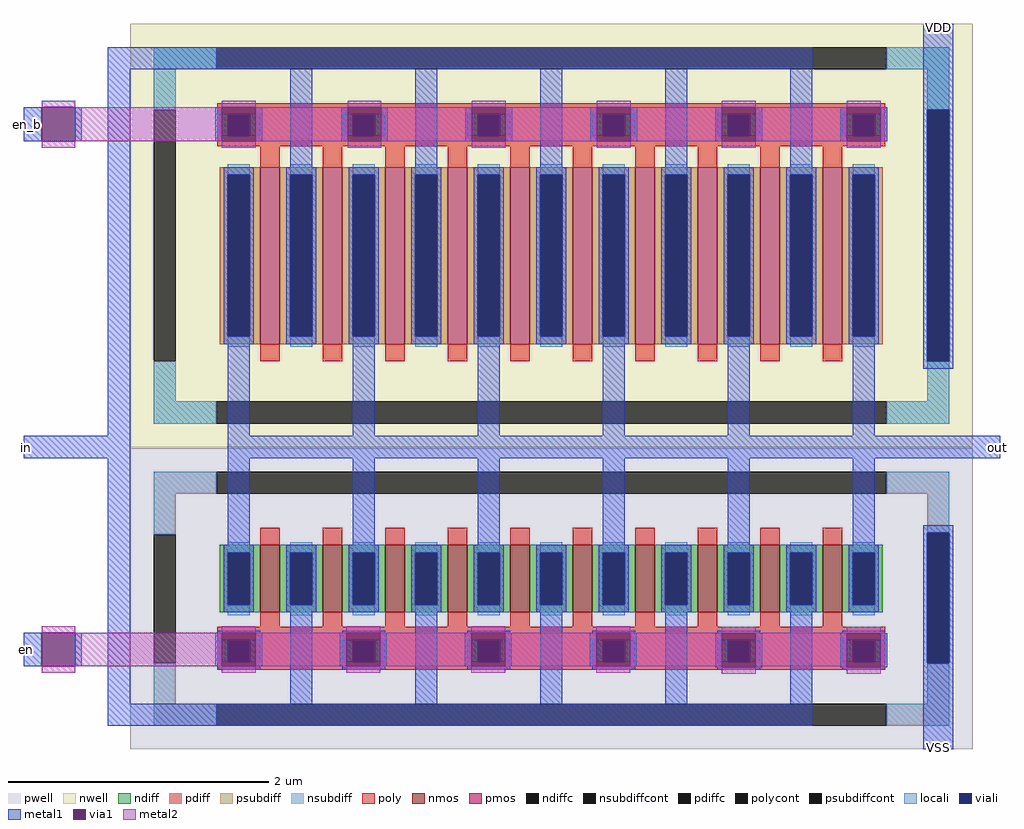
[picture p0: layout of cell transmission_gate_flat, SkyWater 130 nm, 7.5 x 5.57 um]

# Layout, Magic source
magic
tech sky130A
magscale 1 2
<< nwell >>
rect -53 413 1241 1063
<< pwell >>
rect -53 -51 1241 411
<< nmos >>
rect 147 159 177 263
rect 243 159 273 263
rect 339 159 369 263
rect 435 159 465 263
rect 531 159 561 263
rect 627 159 657 263
rect 723 159 753 263
rect 819 159 849 263
rect 915 159 945 263
rect 1011 159 1041 263
<< pmos >>
rect 147 571 177 843
rect 243 571 273 843
rect 339 571 369 843
rect 435 571 465 843
rect 531 571 561 843
rect 627 571 657 843
rect 723 571 753 843
rect 819 571 849 843
rect 915 571 945 843
rect 1011 571 1041 843
<< ndiff >>
rect 85 251 147 263
rect 85 171 97 251
rect 131 171 147 251
rect 85 159 147 171
rect 177 251 243 263
rect 177 171 193 251
rect 227 171 243 251
rect 177 159 243 171
rect 273 251 339 263
rect 273 171 289 251
rect 323 171 339 251
rect 273 159 339 171
rect 369 251 435 263
rect 369 171 385 251
rect 419 171 435 251
rect 369 159 435 171
rect 465 251 531 263
rect 465 171 481 251
rect 515 171 531 251
rect 465 159 531 171
rect 561 251 627 263
rect 561 171 577 251
rect 611 171 627 251
rect 561 159 627 171
rect 657 251 723 263
rect 657 171 673 251
rect 707 171 723 251
rect 657 159 723 171
rect 753 251 819 263
rect 753 171 769 251
rect 803 171 819 251
rect 753 159 819 171
rect 849 251 915 263
rect 849 171 865 251
rect 899 171 915 251
rect 849 159 915 171
rect 945 251 1011 263
rect 945 171 961 251
rect 995 171 1011 251
rect 945 159 1011 171
rect 1041 251 1103 263
rect 1041 171 1057 251
rect 1091 171 1103 251
rect 1041 159 1103 171
<< pdiff >>
rect 85 831 147 843
rect 85 583 97 831
rect 131 583 147 831
rect 85 571 147 583
rect 177 831 243 843
rect 177 583 193 831
rect 227 583 243 831
rect 177 571 243 583
rect 273 831 339 843
rect 273 583 289 831
rect 323 583 339 831
rect 273 571 339 583
rect 369 831 435 843
rect 369 583 385 831
rect 419 583 435 831
rect 369 571 435 583
rect 465 831 531 843
rect 465 583 481 831
rect 515 583 531 831
rect 465 571 531 583
rect 561 831 627 843
rect 561 583 577 831
rect 611 583 627 831
rect 561 571 627 583
rect 657 831 723 843
rect 657 583 673 831
rect 707 583 723 831
rect 657 571 723 583
rect 753 831 819 843
rect 753 583 769 831
rect 803 583 819 831
rect 753 571 819 583
rect 849 831 915 843
rect 849 583 865 831
rect 899 583 915 831
rect 849 571 915 583
rect 945 831 1011 843
rect 945 583 961 831
rect 995 583 1011 831
rect 945 571 1011 583
rect 1041 831 1103 843
rect 1041 583 1057 831
rect 1091 583 1103 831
rect 1041 571 1103 583
<< ndiffc >>
rect 97 171 131 251
rect 193 171 227 251
rect 289 171 323 251
rect 385 171 419 251
rect 481 171 515 251
rect 577 171 611 251
rect 673 171 707 251
rect 769 171 803 251
rect 865 171 899 251
rect 961 171 995 251
rect 1057 171 1091 251
<< pdiffc >>
rect 97 583 131 831
rect 193 583 227 831
rect 289 583 323 831
rect 385 583 419 831
rect 481 583 515 831
rect 577 583 611 831
rect 673 583 707 831
rect 769 583 803 831
rect 865 583 899 831
rect 961 583 995 831
rect 1057 583 1091 831
<< psubdiff >>
rect -17 341 79 375
rect 1109 341 1205 375
rect -17 279 17 341
rect 1171 279 1205 341
rect -17 19 17 81
rect 1171 19 1205 81
rect -17 -15 79 19
rect 1109 -15 1205 19
<< nsubdiff >>
rect -17 993 79 1027
rect 1109 993 1205 1027
rect -17 931 17 993
rect 1171 931 1205 993
rect -17 483 17 545
rect 1171 483 1205 545
rect -17 449 79 483
rect 1109 449 1205 483
<< psubdiffcont >>
rect 79 341 1109 375
rect -17 81 17 279
rect 1171 81 1205 279
rect 79 -15 1109 19
<< nsubdiffcont >>
rect 79 993 1109 1027
rect -17 545 17 931
rect 1171 545 1205 931
rect 79 449 1109 483
<< poly >>
rect 81 925 1107 941
rect 81 891 97 925
rect 131 891 289 925
rect 323 891 481 925
rect 515 891 673 925
rect 707 891 865 925
rect 899 891 1057 925
rect 1091 891 1107 925
rect 81 875 1107 891
rect 147 843 177 875
rect 243 843 273 875
rect 339 843 369 875
rect 435 843 465 875
rect 531 843 561 875
rect 627 843 657 875
rect 723 843 753 875
rect 819 843 849 875
rect 915 843 945 875
rect 1011 843 1041 875
rect 147 545 177 571
rect 243 545 273 571
rect 339 545 369 571
rect 435 545 465 571
rect 531 545 561 571
rect 627 545 657 571
rect 723 545 753 571
rect 819 545 849 571
rect 915 545 945 571
rect 1011 545 1041 571
rect 147 263 177 289
rect 243 263 273 289
rect 339 263 369 289
rect 435 263 465 289
rect 531 263 561 289
rect 627 263 657 289
rect 723 263 753 289
rect 819 263 849 289
rect 915 263 945 289
rect 1011 263 1041 289
rect 147 137 177 159
rect 243 137 273 159
rect 339 137 369 159
rect 435 137 465 159
rect 531 137 561 159
rect 627 137 657 159
rect 723 137 753 159
rect 819 137 849 159
rect 915 137 945 159
rect 1011 137 1041 159
rect 81 117 1107 137
rect 81 83 97 117
rect 131 83 289 117
rect 323 83 481 117
rect 515 83 673 117
rect 707 83 865 117
rect 899 83 1057 117
rect 1091 83 1107 117
rect 81 71 1107 83
<< polycont >>
rect 97 891 131 925
rect 289 891 323 925
rect 481 891 515 925
rect 673 891 707 925
rect 865 891 899 925
rect 1057 891 1091 925
rect 97 83 131 117
rect 289 83 323 117
rect 481 83 515 117
rect 673 83 707 117
rect 865 83 899 117
rect 1057 83 1091 117
<< locali >>
rect -17 993 79 1027
rect 1109 993 1205 1027
rect -17 931 17 993
rect 1171 931 1205 993
rect 81 891 97 925
rect 131 891 147 925
rect 273 891 289 925
rect 323 891 339 925
rect 465 891 481 925
rect 515 891 531 925
rect 657 891 673 925
rect 707 891 723 925
rect 849 891 865 925
rect 899 891 915 925
rect 1041 891 1057 925
rect 1091 891 1107 925
rect 97 831 131 847
rect 97 567 131 583
rect 193 831 227 847
rect 193 567 227 583
rect 289 831 323 847
rect 289 567 323 583
rect 385 831 419 847
rect 385 567 419 583
rect 481 831 515 847
rect 481 567 515 583
rect 577 831 611 847
rect 577 567 611 583
rect 673 831 707 847
rect 673 567 707 583
rect 769 831 803 847
rect 769 567 803 583
rect 865 831 899 847
rect 865 567 899 583
rect 961 831 995 847
rect 961 567 995 583
rect 1057 831 1091 847
rect 1057 567 1091 583
rect -17 483 17 545
rect 1171 483 1205 545
rect -17 449 79 483
rect 1109 449 1205 483
rect -17 341 79 375
rect 1109 341 1205 375
rect -17 279 17 341
rect 1171 281 1205 341
rect 97 251 131 267
rect 97 155 131 171
rect 193 251 227 267
rect 193 155 227 171
rect 289 251 323 267
rect 289 155 323 171
rect 385 251 419 267
rect 385 155 419 171
rect 481 251 515 267
rect 481 155 515 171
rect 577 251 611 267
rect 577 155 611 171
rect 673 251 707 267
rect 673 155 707 171
rect 769 251 803 267
rect 769 155 803 171
rect 865 251 899 267
rect 865 155 899 171
rect 961 251 995 267
rect 961 155 995 171
rect 1057 251 1091 267
rect 1057 155 1091 171
rect 81 83 97 117
rect 131 83 147 117
rect 273 83 289 117
rect 323 83 339 117
rect 465 83 481 117
rect 515 83 531 117
rect 657 83 673 117
rect 707 83 723 117
rect 849 83 865 117
rect 899 83 915 117
rect 1041 83 1057 117
rect 1091 83 1107 117
rect -17 19 17 81
rect 1171 19 1205 81
rect -17 -15 79 19
rect 1109 -15 1205 19
<< viali >>
rect 97 891 131 925
rect 289 891 323 925
rect 481 891 515 925
rect 673 891 707 925
rect 865 891 899 925
rect 1057 891 1091 925
rect 97 583 131 831
rect 193 583 227 831
rect 289 583 323 831
rect 385 583 419 831
rect 481 583 515 831
rect 577 583 611 831
rect 673 583 707 831
rect 769 583 803 831
rect 865 583 899 831
rect 961 583 995 831
rect 1057 583 1091 831
rect 1171 545 1205 931
rect 1171 279 1205 281
rect 97 171 131 251
rect 193 171 227 251
rect 289 171 323 251
rect 385 171 419 251
rect 481 171 515 251
rect 577 171 611 251
rect 673 171 707 251
rect 769 171 803 251
rect 865 171 899 251
rect 961 171 995 251
rect 1057 171 1091 251
rect 97 83 131 117
rect 289 83 323 117
rect 481 83 515 117
rect 673 83 707 117
rect 865 83 899 117
rect 1057 83 1091 117
rect 1171 81 1205 279
<< metal1 >>
rect -87 993 995 1027
rect -216 883 -189 935
rect -137 883 -127 935
rect -87 430 -53 993
rect 78 883 88 935
rect 140 883 150 935
rect 193 843 227 993
rect 271 883 281 935
rect 333 883 343 935
rect 385 843 419 993
rect 462 883 472 935
rect 524 883 534 935
rect 577 843 611 993
rect 654 883 664 935
rect 716 883 726 935
rect 769 843 803 993
rect 846 883 856 935
rect 908 883 918 935
rect 961 843 995 993
rect 1038 883 1048 935
rect 1100 883 1110 935
rect 1165 931 1211 1063
rect 91 831 137 843
rect 91 583 97 831
rect 131 583 137 831
rect 91 571 137 583
rect 187 831 233 843
rect 187 583 193 831
rect 227 583 233 831
rect 187 571 233 583
rect 283 831 329 843
rect 283 583 289 831
rect 323 583 329 831
rect 283 571 329 583
rect 379 831 425 843
rect 379 583 385 831
rect 419 583 425 831
rect 379 571 425 583
rect 475 831 521 843
rect 475 583 481 831
rect 515 583 521 831
rect 475 571 521 583
rect 571 831 617 843
rect 571 583 577 831
rect 611 583 617 831
rect 571 571 617 583
rect 667 831 713 843
rect 667 583 673 831
rect 707 583 713 831
rect 667 571 713 583
rect 763 831 809 843
rect 763 583 769 831
rect 803 583 809 831
rect 763 571 809 583
rect 859 831 905 843
rect 859 583 865 831
rect 899 583 905 831
rect 859 571 905 583
rect 955 831 1001 843
rect 955 583 961 831
rect 995 583 1001 831
rect 955 571 1001 583
rect 1051 831 1097 843
rect 1051 583 1057 831
rect 1091 583 1097 831
rect 1051 571 1097 583
rect -216 396 -53 430
rect -216 76 -189 128
rect -137 76 -127 128
rect -87 19 -53 396
rect 97 430 131 571
rect 289 430 323 571
rect 481 430 515 571
rect 673 430 707 571
rect 865 430 899 571
rect 1057 430 1091 571
rect 1165 545 1171 931
rect 1205 545 1211 931
rect 1165 533 1211 545
rect 97 396 1283 430
rect 97 263 131 396
rect 289 263 323 396
rect 481 263 515 396
rect 673 263 707 396
rect 865 263 899 396
rect 1057 263 1091 396
rect 1165 281 1211 293
rect 91 251 137 263
rect 91 171 97 251
rect 131 171 137 251
rect 91 159 137 171
rect 187 251 233 263
rect 187 171 193 251
rect 227 171 233 251
rect 187 159 233 171
rect 283 251 329 263
rect 283 171 289 251
rect 323 171 329 251
rect 283 159 329 171
rect 379 251 425 263
rect 379 171 385 251
rect 419 171 425 251
rect 379 159 425 171
rect 475 251 521 263
rect 475 171 481 251
rect 515 171 521 251
rect 475 159 521 171
rect 571 251 617 263
rect 571 171 577 251
rect 611 171 617 251
rect 571 159 617 171
rect 667 251 713 263
rect 667 171 673 251
rect 707 171 713 251
rect 667 159 713 171
rect 763 251 809 263
rect 763 171 769 251
rect 803 171 809 251
rect 763 159 809 171
rect 859 251 905 263
rect 859 171 865 251
rect 899 171 905 251
rect 859 159 905 171
rect 955 251 1001 263
rect 955 171 961 251
rect 995 171 1001 251
rect 955 159 1001 171
rect 1051 251 1097 263
rect 1051 171 1057 251
rect 1091 171 1097 251
rect 1051 159 1097 171
rect 81 128 147 131
rect 78 76 88 128
rect 140 76 150 128
rect 81 71 147 76
rect 193 19 227 159
rect 273 128 339 131
rect 269 76 279 128
rect 331 76 341 128
rect 273 71 339 76
rect 385 19 419 159
rect 465 128 531 131
rect 461 76 471 128
rect 523 76 533 128
rect 465 71 531 76
rect 577 19 611 159
rect 657 128 723 131
rect 653 76 663 128
rect 715 76 725 128
rect 657 71 723 76
rect 769 19 803 159
rect 849 127 915 131
rect 846 75 856 127
rect 908 75 918 127
rect 849 71 915 75
rect 961 19 995 159
rect 1041 127 1107 131
rect 1038 75 1048 127
rect 1100 75 1110 127
rect 1165 81 1171 281
rect 1205 81 1211 281
rect 1041 71 1107 75
rect -87 -15 995 19
rect 1165 -51 1211 81
<< via1 >>
rect -189 883 -137 935
rect 88 925 140 935
rect 88 891 97 925
rect 97 891 131 925
rect 131 891 140 925
rect 88 883 140 891
rect 281 925 333 935
rect 281 891 289 925
rect 289 891 323 925
rect 323 891 333 925
rect 281 883 333 891
rect 472 925 524 935
rect 472 891 481 925
rect 481 891 515 925
rect 515 891 524 925
rect 472 883 524 891
rect 664 925 716 935
rect 664 891 673 925
rect 673 891 707 925
rect 707 891 716 925
rect 664 883 716 891
rect 856 925 908 935
rect 856 891 865 925
rect 865 891 899 925
rect 899 891 908 925
rect 856 883 908 891
rect 1048 925 1100 935
rect 1048 891 1057 925
rect 1057 891 1091 925
rect 1091 891 1100 925
rect 1048 883 1100 891
rect -189 76 -137 128
rect 88 117 140 128
rect 88 83 97 117
rect 97 83 131 117
rect 131 83 140 117
rect 88 76 140 83
rect 279 117 331 128
rect 279 83 289 117
rect 289 83 323 117
rect 323 83 331 117
rect 279 76 331 83
rect 471 117 523 128
rect 471 83 481 117
rect 481 83 515 117
rect 515 83 523 117
rect 471 76 523 83
rect 663 117 715 128
rect 663 83 673 117
rect 673 83 707 117
rect 707 83 715 117
rect 663 76 715 83
rect 856 117 908 127
rect 856 83 865 117
rect 865 83 899 117
rect 899 83 908 117
rect 856 75 908 83
rect 1048 117 1100 127
rect 1048 83 1057 117
rect 1057 83 1091 117
rect 1091 83 1100 117
rect 1048 75 1100 83
<< metal2 >>
rect -189 935 -137 945
rect 88 935 140 945
rect 281 935 333 945
rect 472 935 524 945
rect 664 935 716 945
rect 856 935 908 945
rect 1048 935 1100 945
rect -137 883 88 935
rect 140 883 281 935
rect 333 883 472 935
rect 524 883 664 935
rect 716 883 856 935
rect 908 883 1048 935
rect 1100 883 1107 935
rect -189 873 -137 883
rect 88 873 140 883
rect 281 873 333 883
rect 472 873 524 883
rect 664 873 716 883
rect 856 873 908 883
rect 1048 873 1100 883
rect -189 128 -137 138
rect 88 128 140 138
rect 279 128 331 138
rect 471 128 523 138
rect 663 128 715 138
rect 856 128 908 137
rect 1048 128 1100 137
rect -137 76 88 128
rect 140 76 279 128
rect 331 76 471 128
rect 523 76 663 128
rect 715 127 1107 128
rect 715 76 856 127
rect -189 66 -137 76
rect 88 66 140 76
rect 279 66 331 76
rect 471 66 523 76
rect 663 66 715 76
rect 908 76 1048 127
rect 856 65 908 75
rect 1100 76 1107 127
rect 1048 65 1100 75
<< labels >>
flabel metal1 -211 909 -211 909 3 FreeSans 400 0 0 0 en_b
port 4 e
flabel metal1 -212 413 -212 413 3 FreeSans 400 0 0 0 in
port 1 e
flabel metal1 -212 102 -212 102 3 FreeSans 400 0 0 0 en
port 3 e
flabel metal1 1279 412 1279 412 7 FreeSans 400 0 0 0 out
port 2 w
flabel metal1 1188 1058 1188 1058 5 FreeSans 400 0 0 0 VDD
port 5 s power bidirectional
flabel metal1 1188 -48 1188 -48 1 FreeSans 400 0 0 0 VSS
port 6 n ground bidirectional
<< end >>
